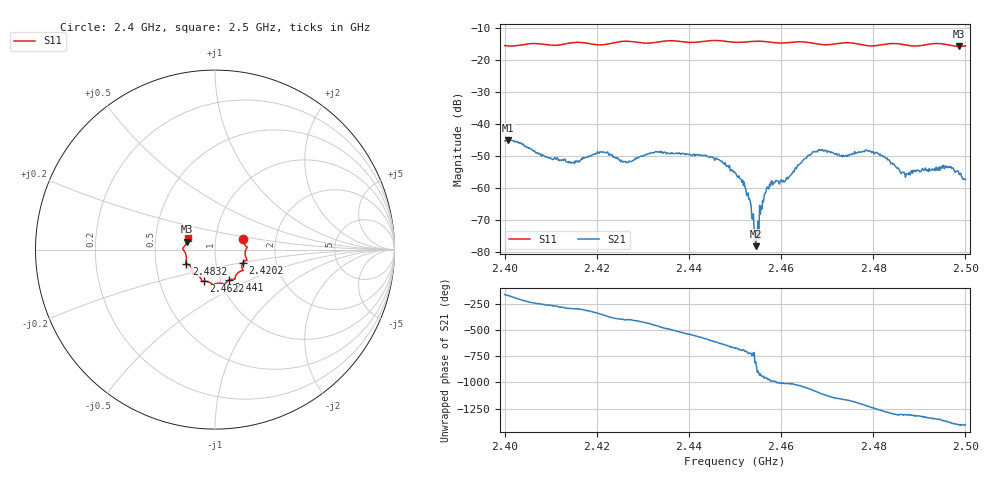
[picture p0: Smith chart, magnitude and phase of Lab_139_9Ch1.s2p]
# Hz S RI R 50
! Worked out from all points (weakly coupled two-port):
!   601 points, 2.4 GHz to 2.5 GHz, reference 50 ohm
!   highest |S21| = -45.15 dB at 2.4007 GHz (marker M1); lowest = -78.2 dB at 2.4545 GHz (marker M2)
!   lowest |S11| = -15.8 dB at 2.4987 GHz (marker M3), VSWR 1.39, Z = 36.4 + j3.37 ohm
!   |S11| at or under -10 dB: start of sweep to end of sweep
!   S12 and S22 are empty: the file has one direction only
!   S11 on the Smith chart (normalised r, x): 2.4 GHz: 1.36, +0.17; 2.4202 GHz: 1.35, -0.20; 2.441 GHz: 1.09, -0.39; 2.4622 GHz: 0.83, -0.30; 2.4832 GHz: 0.72, -0.12; 2.5 GHz: 0.73, +0.10
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2.4e9  0.1562 0.0595  -0.00516 -0.00175  0 0  0 0
2.400667e9  0.157 0.0516  -0.00544 -0.00102  0 0  0 0
2.41e9  0.1694 -0.00796  -0.000292 0.00292  0 0  0 0
2.416667e9  0.1775 -0.0582  0.00156 0.00237  0 0  0 0
2.420167e9  0.1556 -0.0724  0.00343 0.00137  0 0  0 0
2.426667e9  0.1568 -0.1161  0.00185 -0.00168  0 0  0 0
2.433333e9  0.1131 -0.1526  -0.00078 -0.00359  0 0  0 0
2.441e9  0.0765 -0.171  -0.00331 0.000681  0 0  0 0
2.446333e9  0.0508 -0.1936  -0.000482 0.00274  0 0  0 0
2.45e9  0.026 -0.1863  0.00122 0.00122  0 0  0 0
2.4525e9  0.00312 -0.1906  0.000768 0.000181  0 0  0 0
2.4545e9  -0.00827 -0.195  9.15e-06 -0.000123  0 0  0 0
2.457333e9  -0.0204 -0.1887  -0.000344 0.0009  0 0  0 0
2.462167e9  -0.0634 -0.1767  0.00072 0.00144  0 0  0 0
2.466667e9  -0.0765 -0.1665  0.00341 0.000462  0 0  0 0
2.478833e9  -0.1293 -0.1042  -0.00314 -0.00209  0 0  0 0
2.483167e9  -0.16 -0.0779  -0.00243 0.00124  0 0  0 0
2.483333e9  -0.1608 -0.0775  -0.00245 0.00123  0 0  0 0
2.487167e9  -0.16 -0.0572  -0.00103 0.00133  0 0  0 0
2.495667e9  -0.1739 0.0141  0.000789 0.00208  0 0  0 0
2.498667e9  -0.1558 0.0451  0.00133 0.000914  0 0  0 0
2.5e9  -0.153 0.0635  0.00109 0.000802  0 0  0 0
